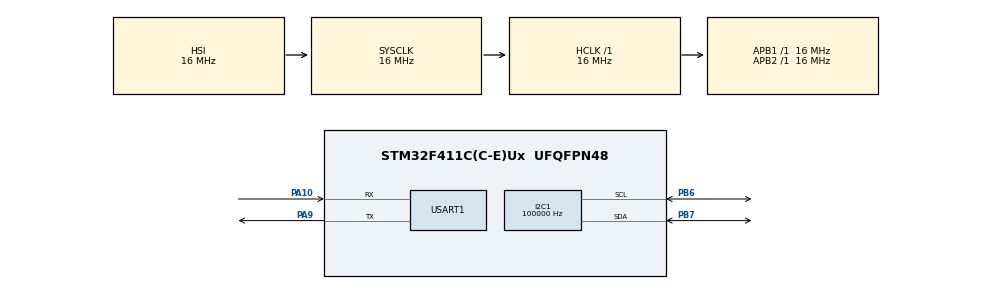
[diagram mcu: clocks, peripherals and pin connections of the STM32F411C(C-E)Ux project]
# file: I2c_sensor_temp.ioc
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I2C1.ClockSpeed=100000
Mcu.Family=STM32F4
Mcu.Name=STM32F411C(C-E)Ux
Mcu.Package=UFQFPN48
NVIC.PriorityGroup=NVIC_PRIORITYGROUP_4
PA10.Mode=Asynchronous
PA10.Signal=USART1_RX
PA9.Mode=Asynchronous
PA9.Signal=USART1_TX
PB6.Mode=I2C
PB6.Signal=I2C1_SCL
PB7.Mode=I2C
PB7.Signal=I2C1_SDA
PH0\ -\ OSC_IN.Mode=HSE-External-Oscillator
PH0\ -\ OSC_IN.Signal=RCC_OSC_IN
PH1\ -\ OSC_OUT.Mode=HSE-External-Oscillator
PH1\ -\ OSC_OUT.Signal=RCC_OSC_OUT
ProjectManager.HeapSize=0x200
ProjectManager.StackSize=0x400
ProjectManager.TargetToolchain=STM32CubeIDE
RCC.AHBFreq_Value=16000000
RCC.APB1Freq_Value=16000000
RCC.APB2Freq_Value=16000000
RCC.CortexFreq_Value=16000000
RCC.HSE_VALUE=25000000
RCC.HSI_VALUE=16000000
RCC.LSE_VALUE=32768
RCC.SYSCLKFreq_VALUE=16000000
RCC.VCOOutputFreq_Value=192000000
USART1.VirtualMode=VM_ASYNC
board=custom

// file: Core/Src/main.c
/* USER CODE BEGIN Header */
/**
  ******************************************************************************
  * @file           : main.c
  * @brief          : Main program body
  ******************************************************************************
  * @attention
  *
  * Copyright (c) 2026 STMicroelectronics.
  * All rights reserved.
  *
  * This software is licensed under terms that can be found in the LICENSE file
  * in the root directory of this software component.
  * If no LICENSE file comes with this software, it is provided AS-IS.
  *
  ******************************************************************************
  */
/* USER CODE END Header */
#include "main.h"
#include "i2c.h"
#include "usart.h"
#include "gpio.h"

/* USER CODE BEGIN Includes */
#include <stdio.h>
#include <string.h>
/* USER CODE END Includes */

/* USER CODE BEGIN PV */
float temp_celsius = 0.0f;
HAL_StatusTypeDef status = 0;
/* USER CODE END PV */

void SystemClock_Config(void);

int main(void)
{

  /* MCU Configuration--------------------------------------------------------*/

  /* Reset of all peripherals, Initializes the Flash interface and the Systick. */
  HAL_Init();

  /* Configure the system clock */
  SystemClock_Config();

  /* Initialize all configured peripherals */
  MX_GPIO_Init();
  MX_I2C1_Init();
  MX_USART1_UART_Init();
  /* USER CODE BEGIN 2 */
  status = MLX90614_Init(&hi2c1);
  char init_msg[64];
  if (status == HAL_OK) {
      sprintf(init_msg, "MLX90614 Encontrado!\r\n");
      HAL_UART_Transmit(&huart1, (uint8_t*)init_msg, strlen(init_msg), 100);
  } else {
      sprintf(init_msg, "Erro: MLX90614 nao detectado. Status: %d\r\n", status);
      HAL_UART_Transmit(&huart1, (uint8_t*)init_msg, strlen(init_msg), 100);
  }
  /* USER CODE END 2 */

  /* Infinite loop */
  /* USER CODE BEGIN WHILE */
  while (1)
  {
      status = MLX90614_ReadTemperature(&hi2c1, &temp_celsius);

      if (status == HAL_OK) {
          char msg[64];
          sprintf(msg, "Temp do Objeto: %.2f C\r\n", temp_celsius);
          HAL_UART_Transmit(&huart1, (uint8_t*)msg, strlen(msg), 100);
      } else {
          char msg[64];
          sprintf(msg, "Erro na leitura do sensor. Status: %d\r\n", status);
          HAL_UART_Transmit(&huart1, (uint8_t*)msg, strlen(msg), 100);
      }

      HAL_Delay(500);
    /* USER CODE END WHILE */

  }
}

void SystemClock_Config(void)
{
  RCC_OscInitTypeDef RCC_OscInitStruct = {0};
  RCC_ClkInitTypeDef RCC_ClkInitStruct = {0};

  /** Configure the main internal regulator output voltage
  */
  __HAL_RCC_PWR_CLK_ENABLE();
  __HAL_PWR_VOLTAGESCALING_CONFIG(PWR_REGULATOR_VOLTAGE_SCALE1);

  /** Initializes the RCC Oscillators according to the specified parameters
  * in the RCC_OscInitTypeDef structure.
  */
  RCC_OscInitStruct.OscillatorType = RCC_OSCILLATORTYPE_HSI;
  RCC_OscInitStruct.HSIState = RCC_HSI_ON;
  RCC_OscInitStruct.HSICalibrationValue = RCC_HSICALIBRATION_DEFAULT;
  RCC_OscInitStruct.PLL.PLLState = RCC_PLL_NONE;
  if (HAL_RCC_OscConfig(&RCC_OscInitStruct) != HAL_OK)
  {
    Error_Handler();
  }

  /** Initializes the CPU, AHB and APB buses clocks
  */
  RCC_ClkInitStruct.ClockType = RCC_CLOCKTYPE_HCLK|RCC_CLOCKTYPE_SYSCLK
                              |RCC_CLOCKTYPE_PCLK1|RCC_CLOCKTYPE_PCLK2;
  RCC_ClkInitStruct.SYSCLKSource = RCC_SYSCLKSOURCE_HSI;
  RCC_ClkInitStruct.AHBCLKDivider = RCC_SYSCLK_DIV1;
  RCC_ClkInitStruct.APB1CLKDivider = RCC_HCLK_DIV1;
  RCC_ClkInitStruct.APB2CLKDivider = RCC_HCLK_DIV1;

  if (HAL_RCC_ClockConfig(&RCC_ClkInitStruct, FLASH_LATENCY_0) != HAL_OK)
  {
    Error_Handler();
  }
}

void Error_Handler(void)
{
  __disable_irq();
  while (1)
  {
  }
}
